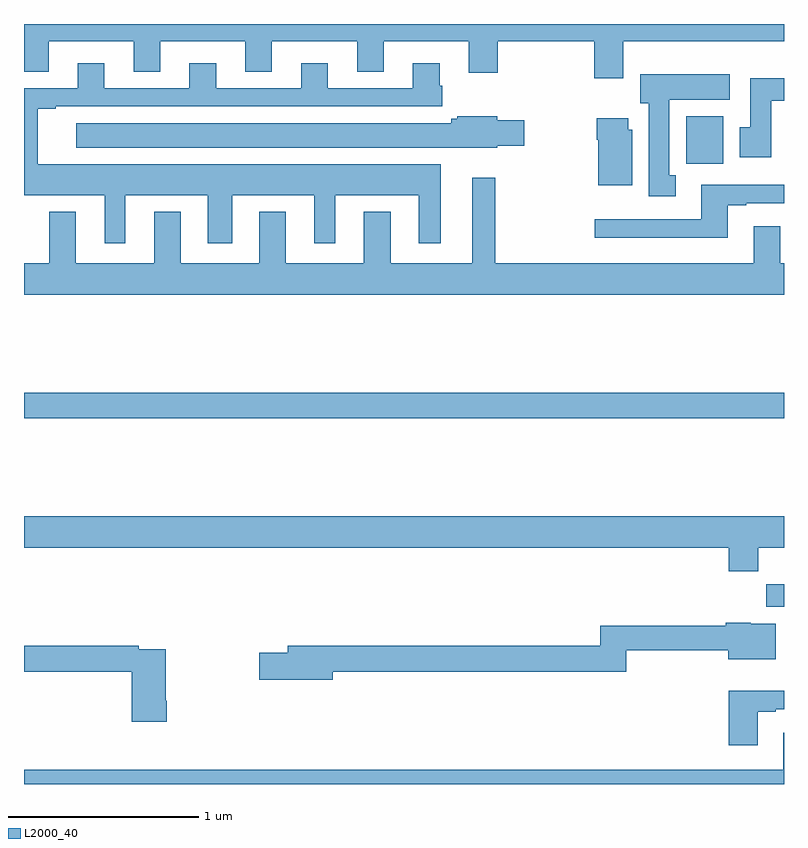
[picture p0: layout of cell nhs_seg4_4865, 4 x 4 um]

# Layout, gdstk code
import gdstk
lib = gdstk.Library(unit=1e-6, precision=1e-09)
def R(c, l, rs):  # rectangles x0, y0, x1, y1
    for r in rs: c.add(gdstk.rectangle(r[:2], r[2:], *l))
def P(c, l, *ps):  # polygons
    for p in ps: c.add(gdstk.Polygon(p, *l))
L2000_40 = (2000, 40)

nhs_seg4_4865 = lib.new_cell('nhs_seg4_4865')
R(nhs_seg4_4865, L2000_40, [(376.906,805.832,377,805.951), (373,806.824,377,806.96), (376.485,808.164,376.681,808.414)])
P(nhs_seg4_4865, L2000_40, [(376.153,808.808),(377,808.808),(377,808.9),(373,808.9),(373,808.648),(373.129,808.648),(373.129,808.808),(373.577,808.808),(373.577,808.648),(373.717,808.648),(373.717,808.808),(374.165,808.808),(374.165,808.648),(374.305,808.648),(374.305,808.808),(374.753,808.808),(374.753,808.648),(374.893,808.648),(374.893,808.808),(375.341,808.808),(375.341,808.644),(375.494,808.644),(375.494,808.808),(376.001,808.808),(376.001,808.614),(376.153,808.614)],
  [(373.534,807.998),(373.967,807.998),(373.967,807.747),(374.095,807.747),(374.095,807.998),(374.528,807.998),(374.528,807.747),(374.638,807.747),(374.638,807.998),(375.077,807.998),(375.077,807.747),(375.193,807.747),(375.193,808.162),(373.072,808.162),(373.072,808.455),(373.168,808.455),(373.168,808.467),(375.2,808.467),(375.2,808.575),(375.187,808.575),(375.187,808.693),(375.047,808.693),(375.047,808.563),(374.599,808.563),(374.599,808.693),(374.459,808.693),(374.459,808.563),(374.011,808.563),(374.011,808.693),(373.871,808.693),(373.871,808.563),(373.423,808.563),(373.423,808.693),(373.283,808.693),(373.283,808.563),(373,808.563),(373,807.998),(373.424,807.998),(373.424,807.747),(373.534,807.747)],
  [(376.429,808.105),(376.396,808.105),(376.396,808.502),(376.714,808.502),(376.714,808.636),(376.244,808.636),(376.244,808.482),(376.289,808.482),(376.289,807.993),(376.429,807.993)],
  [(376.933,808.496),(377,808.496),(377,808.615),(376.823,808.615),(376.823,808.356),(376.766,808.356),(376.766,808.2),(376.933,808.2)],
  [(375.492,808.259),(375.634,808.259),(375.634,808.393),(375.492,808.393),(375.492,808.414),(375.279,808.414),(375.279,808.401),(375.249,808.401),(375.249,808.378),(373.275,808.378),(373.275,808.25),(375.492,808.25)],
  [(376.201,808.344),(376.18,808.344),(376.18,808.405),(376.015,808.405),(376.015,808.292),(376.022,808.292),(376.022,808.052),(376.201,808.052)],
  [(377,807.64),(376.981,807.64),(376.981,807.835),(376.841,807.835),(376.841,807.64),(375.481,807.64),(375.481,808.09),(375.359,808.09),(375.359,807.64),(374.929,807.64),(374.929,807.913),(374.789,807.913),(374.789,807.64),(374.377,807.64),(374.377,807.913),(374.237,807.913),(374.237,807.64),(373.825,807.64),(373.825,807.913),(373.685,807.913),(373.685,807.64),(373.273,807.64),(373.273,807.913),(373.133,807.913),(373.133,807.64),(373,807.64),(373,807.476),(377,807.476)],
  [(376.705,807.945),(376.801,807.945),(376.801,807.957),(377,807.957),(377,808.054),(376.565,808.054),(376.565,807.873),(376.005,807.873),(376.005,807.776),(376.705,807.776)],
  [(376.865,806.144),(377,806.144),(377,806.308),(373,806.308),(373,806.144),(376.709,806.144),(376.709,806.02),(376.865,806.02)],
  [(374.626,805.492),(376.169,805.492),(376.169,805.603),(376.706,805.603),(376.706,805.556),(376.957,805.556),(376.957,805.744),(376.824,805.744),(376.824,805.75),(376.694,805.75),(376.694,805.732),(376.033,805.732),(376.033,805.628),(374.387,805.628),(374.387,805.592),(374.238,805.592),(374.238,805.45),(374.626,805.45)],
  [(373.751,805.339),(373.746,805.339),(373.746,805.608),(373.604,805.608),(373.604,805.628),(373,805.628),(373,805.492),(373.568,805.492),(373.568,805.227),(373.751,805.227)],
  [(376.861,805.281),(376.957,805.281),(376.957,805.293),(377,805.293),(377,805.39),(376.709,805.39),(376.709,805.104),(376.861,805.104)],
  [(377,805.171),(376.997,805.171),(376.997,804.976),(373,804.976),(373,804.9),(377,804.9)])

lib.write_gds('nhs_seg4_4865.gds')
